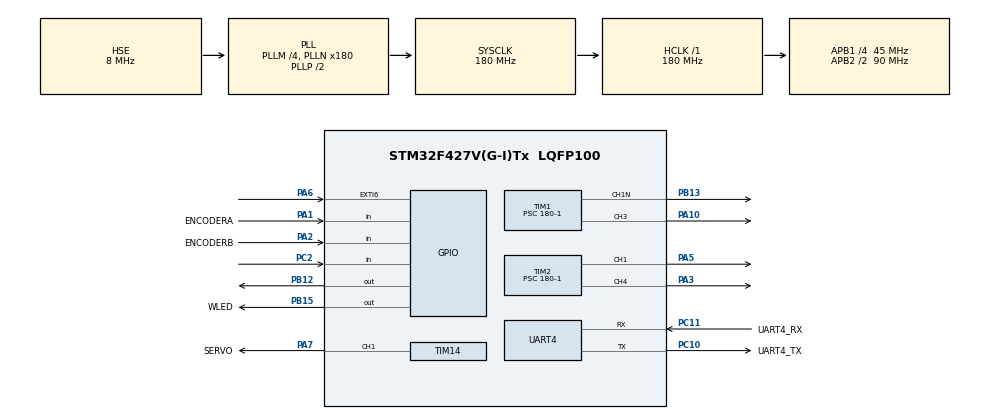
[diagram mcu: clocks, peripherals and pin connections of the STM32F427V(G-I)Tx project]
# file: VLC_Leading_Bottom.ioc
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Dma.Request0=UART4_TX
Dma.Request1=UART4_RX
Dma.UART4_RX.1.Direction=DMA_PERIPH_TO_MEMORY
Dma.UART4_RX.1.FIFOMode=DMA_FIFOMODE_DISABLE
Dma.UART4_RX.1.Instance=DMA1_Stream2
Dma.UART4_RX.1.MemDataAlignment=DMA_MDATAALIGN_BYTE
Dma.UART4_RX.1.MemInc=DMA_MINC_ENABLE
Dma.UART4_RX.1.Mode=DMA_NORMAL
Dma.UART4_RX.1.PeriphDataAlignment=DMA_PDATAALIGN_BYTE
Dma.UART4_RX.1.PeriphInc=DMA_PINC_DISABLE
Dma.UART4_RX.1.Priority=DMA_PRIORITY_LOW
Dma.UART4_TX.0.Direction=DMA_MEMORY_TO_PERIPH
Dma.UART4_TX.0.FIFOMode=DMA_FIFOMODE_DISABLE
Dma.UART4_TX.0.Instance=DMA1_Stream4
Dma.UART4_TX.0.MemDataAlignment=DMA_MDATAALIGN_BYTE
Dma.UART4_TX.0.MemInc=DMA_MINC_ENABLE
Dma.UART4_TX.0.Mode=DMA_NORMAL
Dma.UART4_TX.0.PeriphDataAlignment=DMA_PDATAALIGN_BYTE
Dma.UART4_TX.0.PeriphInc=DMA_PINC_DISABLE
Dma.UART4_TX.0.Priority=DMA_PRIORITY_LOW
Mcu.Family=STM32F4
Mcu.Name=STM32F427V(G-I)Tx
Mcu.Package=LQFP100
NVIC.DMA1_Stream2_IRQn=true\:0\:0\:false\:false\:true\:false\:true\:true
NVIC.DMA1_Stream4_IRQn=true\:0\:0\:false\:false\:true\:false\:true\:true
NVIC.EXTI9_5_IRQn=true\:2\:0\:true\:false\:true\:true\:true\:true
NVIC.PriorityGroup=NVIC_PRIORITYGROUP_4
NVIC.TIM4_IRQn=true\:0\:0\:false\:false\:true\:true\:true\:true
NVIC.UART4_IRQn=true\:0\:0\:false\:false\:true\:true\:true\:true
PA1.GPIO_Label=ENCODERA
PA1.Signal=GPIO_Input
PA10.Signal=S_TIM1_CH3
PA2.GPIO_Label=ENCODERB
PA2.Signal=GPIO_Input
PA3.Signal=S_TIM2_CH4
PA5.Signal=S_TIM2_CH1_ETR
PA6.GPIO_ModeDefaultEXTI=GPIO_MODE_IT_RISING_FALLING
PA6.GPIO_PuPd=GPIO_PULLDOWN
PA6.Signal=GPXTI6
PA7.GPIO_Label=SERVO
PA7.Signal=S_TIM14_CH1
PB12.GPIO_PuPd=GPIO_PULLDOWN
PB12.Signal=GPIO_Output
PB13.Mode=PWM Generation1 CH1N
PB13.Signal=TIM1_CH1N
PB15.GPIO_Label=WLED
PB15.Signal=GPIO_Output
PC10.GPIO_Label=UART4_TX
PC10.Mode=Asynchronous
PC10.Signal=UART4_TX
PC11.GPIO_Label=UART4_RX
PC11.Mode=Asynchronous
PC11.Signal=UART4_RX
PC2.Signal=GPIO_Input
PH0/OSC_IN.Mode=HSE-External-Oscillator
PH0/OSC_IN.Signal=RCC_OSC_IN
PH1/OSC_OUT.Mode=HSE-External-Oscillator
PH1/OSC_OUT.Signal=RCC_OSC_OUT
ProjectManager.HeapSize=0x200
ProjectManager.StackSize=0x400
ProjectManager.TargetToolchain=STM32CubeIDE
RCC.48MHZClocksFreq_Value=90000000
RCC.AHBFreq_Value=180000000
RCC.APB1CLKDivider=RCC_HCLK_DIV4
RCC.APB1Freq_Value=45000000
RCC.APB1TimFreq_Value=90000000
RCC.APB2CLKDivider=RCC_HCLK_DIV2
RCC.APB2Freq_Value=90000000
RCC.APB2TimFreq_Value=180000000
RCC.CortexFreq_Value=180000000
RCC.HCLKFreq_Value=180000000
RCC.HSE_VALUE=8000000
RCC.HSI_VALUE=16000000
RCC.LSE_VALUE=32768
RCC.PLLM=4
RCC.PLLN=180
RCC.PLLSourceVirtual=RCC_PLLSOURCE_HSE
RCC.SYSCLKFreq_VALUE=180000000
RCC.SYSCLKSource=RCC_SYSCLKSOURCE_PLLCLK
RCC.VCOOutputFreq_Value=360000000
SH.S_TIM14_CH1.0=TIM14_CH1,PWM Generation1 CH1
SH.S_TIM1_CH3.0=TIM1_CH3,PWM Generation3 CH3
SH.S_TIM2_CH1_ETR.0=TIM2_CH1,PWM Generation1 CH1
SH.S_TIM2_CH4.0=TIM2_CH4,PWM Generation4 CH4
TIM1.AutoReloadPreload=TIM_AUTORELOAD_PRELOAD_ENABLE
TIM1.Channel-PWM\ Generation1\ CH1N=TIM_CHANNEL_1
TIM1.Channel-PWM\ Generation3\ CH3=TIM_CHANNEL_3
TIM1.Period=10000
TIM1.Prescaler=180-1
TIM14.AutoReloadPreload=TIM_AUTORELOAD_PRELOAD_ENABLE
TIM14.Channel=TIM_CHANNEL_1
TIM14.Period=20000-1
TIM14.Prescaler=90-1
TIM2.AutoReloadPreload=TIM_AUTORELOAD_PRELOAD_ENABLE
TIM2.Channel-PWM\ Generation1\ CH1=TIM_CHANNEL_1
TIM2.Channel-PWM\ Generation4\ CH4=TIM_CHANNEL_4
TIM2.Period=10000
TIM2.Prescaler=180-1
TIM3.AutoReloadPreload=TIM_AUTORELOAD_PRELOAD_ENABLE
TIM3.Prescaler=90-1
TIM4.AutoReloadPreload=TIM_AUTORELOAD_PRELOAD_ENABLE
TIM4.Period=80-1
TIM4.Prescaler=90-1
UART4.VirtualMode=Asynchronous
VP_TIM14_VS_ClockSourceINT.Mode=Enable_Timer
VP_TIM1_VS_ClockSourceINT.Mode=Internal
VP_TIM2_VS_ClockSourceINT.Mode=Internal
VP_TIM3_VS_ClockSourceINT.Mode=Internal
VP_TIM4_VS_ClockSourceINT.Mode=Internal
board=custom

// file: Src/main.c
/* USER CODE BEGIN Header */
/**
  ******************************************************************************
  * @file           : main.c
  * @brief          : Main program body
  ******************************************************************************
  * @attention
  *
  * Copyright (c) 2023 STMicroelectronics.
  * All rights reserved.
  *
  * This software is licensed under terms that can be found in the LICENSE file
  * in the root directory of this software component.
  * If no LICENSE file comes with this software, it is provided AS-IS.
  *
  ******************************************************************************
  */
/* USER CODE END Header */
#include "main.h"
#include "dma.h"
#include "tim.h"
#include "usart.h"
#include "gpio.h"

/* USER CODE BEGIN Includes */
#include "vehicle_servo.h"
#include "vehicle_pwm_motor.h"
#include "VLC_timer.h"

/* USER CODE END Includes */

/* USER CODE BEGIN PV */
uint8_t DETECT_DATA_FLAG = 0;    // PD receives message = 1, else = 0;
uint8_t VLC_RX_DATA_BUFFER[RECEIVE_BYTES_LENGTH]; // Data buffer that stores the encoded data.
uint8_t received_data[FRAME_LENGTH];    // Original data after decoding.
/* USER CODE END PV */

void SystemClock_Config(void);

/* USER CODE BEGIN 0 */
void HAL_UART_RxCpltCallback(UART_HandleTypeDef *huart){
    HAL_UART_Transmit_DMA(&huart4,received_data,PAYLOAD_LENGTH);
    vehicle_pwm_motor_control(received_data[0]);
    HAL_UART_Receive_DMA(&huart4,received_data,PAYLOAD_LENGTH);
}

/* USER CODE END 0 */

int main(void)
{

  /* MCU Configuration--------------------------------------------------------*/

  /* Reset of all peripherals, Initializes the Flash interface and the Systick. */
  HAL_Init();

  /* Configure the system clock */
  SystemClock_Config();

  /* Initialize all configured peripherals */
  MX_GPIO_Init();
  MX_DMA_Init();
  MX_UART4_Init();
  MX_TIM14_Init();
  MX_TIM3_Init();
  MX_TIM4_Init();
  MX_TIM1_Init();
  MX_TIM2_Init();
  /* USER CODE BEGIN 2 */
    HAL_NVIC_DisableIRQ(EXTI9_5_IRQn);  // Leading Car doesn't need PD receiving.
    VLC_timer_init();
    vehicle_servo_init();
    vehicle_pwm_motor_init();
    HAL_UART_Transmit_DMA(&huart4,"Txstart\n",PAYLOAD_LENGTH);
    HAL_UART_Receive_DMA(&huart4,received_data,PAYLOAD_LENGTH);
  /* USER CODE END 2 */

  /* Infinite loop */
  /* USER CODE BEGIN WHILE */
    while (1) {

        // TODO: Duplex VLC.
        HAL_Delay(100); // Avoid the Watchdog interrupt.
    /* USER CODE END WHILE */

    }
}

void SystemClock_Config(void)
{
  RCC_OscInitTypeDef RCC_OscInitStruct = {0};
  RCC_ClkInitTypeDef RCC_ClkInitStruct = {0};

  /** Configure the main internal regulator output voltage
  */
  __HAL_RCC_PWR_CLK_ENABLE();
  __HAL_PWR_VOLTAGESCALING_CONFIG(PWR_REGULATOR_VOLTAGE_SCALE1);

  /** Initializes the RCC Oscillators according to the specified parameters
  * in the RCC_OscInitTypeDef structure.
  */
  RCC_OscInitStruct.OscillatorType = RCC_OSCILLATORTYPE_HSE;
  RCC_OscInitStruct.HSEState = RCC_HSE_ON;
  RCC_OscInitStruct.PLL.PLLState = RCC_PLL_ON;
  RCC_OscInitStruct.PLL.PLLSource = RCC_PLLSOURCE_HSE;
  RCC_OscInitStruct.PLL.PLLM = 4;
  RCC_OscInitStruct.PLL.PLLN = 180;
  RCC_OscInitStruct.PLL.PLLP = RCC_PLLP_DIV2;
  RCC_OscInitStruct.PLL.PLLQ = 4;
  if (HAL_RCC_OscConfig(&RCC_OscInitStruct) != HAL_OK)
  {
    Error_Handler();
  }

  /** Activate the Over-Drive mode
  */
  if (HAL_PWREx_EnableOverDrive() != HAL_OK)
  {
    Error_Handler();
  }

  /** Initializes the CPU, AHB and APB buses clocks
  */
  RCC_ClkInitStruct.ClockType = RCC_CLOCKTYPE_HCLK|RCC_CLOCKTYPE_SYSCLK
                              |RCC_CLOCKTYPE_PCLK1|RCC_CLOCKTYPE_PCLK2;
  RCC_ClkInitStruct.SYSCLKSource = RCC_SYSCLKSOURCE_PLLCLK;
  RCC_ClkInitStruct.AHBCLKDivider = RCC_SYSCLK_DIV1;
  RCC_ClkInitStruct.APB1CLKDivider = RCC_HCLK_DIV4;
  RCC_ClkInitStruct.APB2CLKDivider = RCC_HCLK_DIV2;

  if (HAL_RCC_ClockConfig(&RCC_ClkInitStruct, FLASH_LATENCY_5) != HAL_OK)
  {
    Error_Handler();
  }
}

void Error_Handler(void)
{
  /* USER CODE BEGIN Error_Handler_Debug */

    /* User can add his own implementation to report the HAL error return state */
    __disable_irq();
//    while (1) {
//        HAL_UART_Transmit(&huart1,"Error\n",6,HAL_MAX_DELAY);
//    }
  /* USER CODE END Error_Handler_Debug */
}
